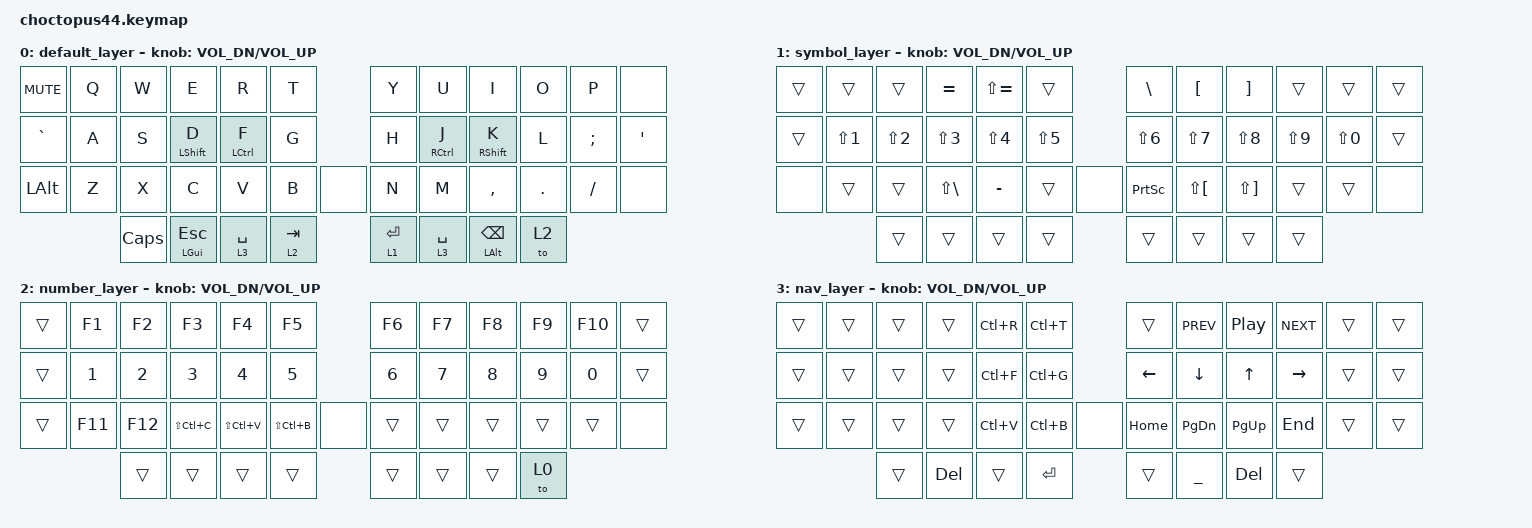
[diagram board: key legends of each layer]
/*
 * Copyright (c) 2021 The ZMK Contributors
 *
 * SPDX-License-Identifier: MIT
 */

#include <behaviors.dtsi>
#include <dt-bindings/zmk/keys.h>
#include <dt-bindings/zmk/bt.h>

&mt {
    tapping-term-ms = <210>; // must be greater than quick tap!
    flavor = "tap-preferred";
    quick-tap-ms = <190>; // must be smaler than tapping term!
};

/ {
  keymap {
    compatible = "zmk,keymap";

    // LAYER 0
    default_layer {
      bindings = <
        &kp C_MUTE  &kp Q     &kp W       &kp E         &kp R        &kp T                  &kp Y        &kp U        &kp I          &kp O    &kp P     &none
        &kp GRAVE   &kp A     &kp S       &mt LSHIFT D  &mt LCTRL F  &kp G                  &kp H        &mt RCTRL J  &mt RSHIFT K   &kp L    &kp SEMI  &kp SQT
        &kp LALT    &kp Z     &kp X       &kp C         &kp V        &kp B       &none      &kp N        &kp M        &kp COMMA      &kp DOT  &kp FSLH  &none
                              &kp CAPS    &mt LGUI ESC  &lt 3 SPACE  &lt 2 TAB              &lt 1 ENTER  &lt 3 SPACE  &mt LALT BSPC  &to 2
      >;
      sensor-bindings = <&inc_dec_kp C_VOL_DN C_VOL_UP>;
    };

    // LAYER 1
    symbol_layer {
      bindings = <
        &trans    &trans   &trans     &kp EQUAL    &kp LS(EQUAL) &trans                   &kp BSLH   &kp LBKT     &kp RBKT     &trans     &trans     &trans
        &trans  &kp LS(N1) &kp LS(N2) &kp LS(N3)    &kp LS(N4) &kp LS(N5)                 &kp LS(N6) &kp LS(N7)   &kp LS(N8)   &kp LS(N9) &kp LS(N0) &trans
        &none     &trans   &trans     &kp LS(BSLH)  &kp MINUS  &trans        &none        &kp PSCRN  &kp LS(LBKT) &kp LS(RBKT) &trans     &trans     &none
                           &trans     &trans        &trans     &trans                     &trans     &trans       &trans       &trans
      >;
      sensor-bindings = <&inc_dec_kp C_VOL_DN C_VOL_UP>;
    };

    // LAYER 2
    number_layer  {
      bindings = <
        &trans   &kp F1    &kp F2     &kp F3      &kp F4       &kp F5                     &kp F6     &kp F7      &kp F8      &kp F9     &kp F10    &trans
        &trans   &kp N1    &kp N2     &kp N3      &kp N4       &kp N5                     &kp N6     &kp N7      &kp N8      &kp N9     &kp N0     &trans
        &trans   &kp F11  &kp F12  &kp LS(LC(C)) &kp LS(LC(V)) &kp LS(LC(B))  &none       &trans     &trans      &trans      &trans     &trans     &none
                           &trans     &trans      &trans       &trans                     &trans     &trans      &trans      &to 0
      >;
      sensor-bindings = <&inc_dec_kp C_VOL_DN C_VOL_UP>;
    };

    // LAYER 3
    nav_layer {
      bindings = <
        &trans   &trans   &trans   &trans   &kp LC(R)  &kp LC(T)              &trans     &kp C_PREV  &kp C_PP   &kp C_NEXT  &trans   &trans
        &trans   &trans   &trans   &trans   &kp LC(F)  &kp LC(G)              &kp LEFT   &kp DOWN    &kp UP     &kp RIGHT   &trans   &trans
        &trans   &trans   &trans   &trans   &kp LC(V)  &kp LC(B)    &none     &kp HOME   &kp PG_DN   &kp PG_UP  &kp END     &trans   &trans
                          &trans   &kp DEL  &trans     &kp ENTER              &trans     &kp UNDER   &kp DEL    &trans
      >;
      sensor-bindings = <&inc_dec_kp C_VOL_DN C_VOL_UP>;
    };

  };
};
